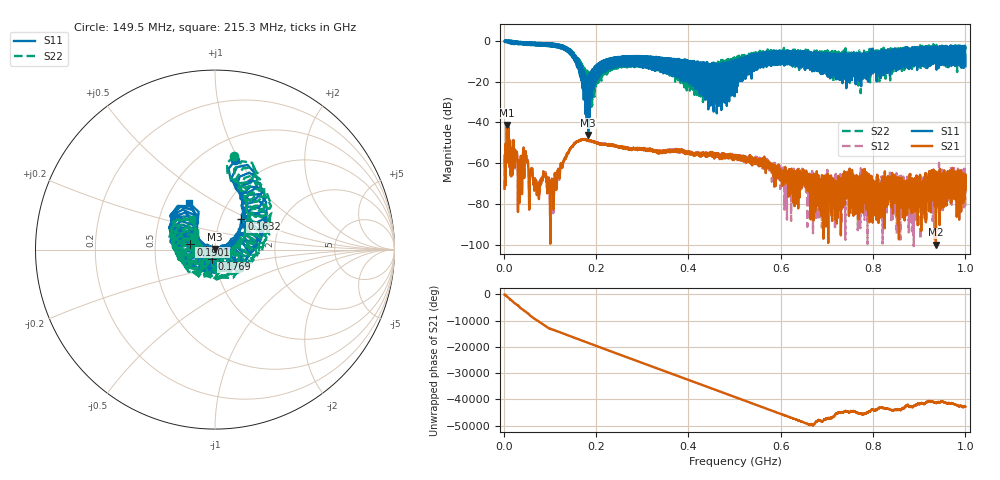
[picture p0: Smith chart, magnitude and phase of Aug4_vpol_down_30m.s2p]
!Keysight Technologies N9923A: A.12.45
!Date: Tuesday, 05 August 2025 20:54:13
!Timezone: (UTC+08:00) Kuala Lumpur, Singapore
!Model: N9923A
!Serial: MY61181427
!GPS Latitude:
!GPS Longitude:
!GPS TimeStamp: 0001-01-01 00:00:00Z
!GPS Seconds Since Last Read: 0
!CHECKSUM:1149632870
!Correction: S11(ON U)S21(ON U)S12(ON U)S22(ON U)
!S2P File: Measurements:S11,S21,S12,S22:
# Hz S DB R 50
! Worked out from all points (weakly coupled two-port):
!   4001 points, 2 MHz to 1 GHz, reference 50 ohm
!   highest |S21| = -41.26 dB at 6.74 MHz (marker M1); lowest = -100.0 dB at 936.1 MHz (marker M2)
!   lowest |S11| = -46.2 dB at 183.1 MHz (marker M3), VSWR 1.01, Z = 49.7 + j0.414 ohm
!   |S11| at or under -10 dB: 162.7 MHz to 213.8 MHz (51.06 MHz wide, 27.1 % of centre); 405.5 MHz to 410.4 MHz (4.948 MHz wide, 1.21 % of centre); 412.2 MHz to 494 MHz (81.78 MHz wide, 18 % of centre)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
!   |S22| runs from -35.2 to 0.1 dB; largest |S21 - S12| = 0.0011
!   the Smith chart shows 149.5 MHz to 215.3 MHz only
!   S11 on the Smith chart (normalised r, x): 149.5 MHz: 0.71, +0.96; 163.2 MHz: 1.26, +0.45; 176.9 MHz: 0.96, -0.10; 190.1 MHz: 0.76, +0.04; 215.3 MHz: 0.66, +0.38
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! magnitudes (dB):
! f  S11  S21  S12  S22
! 2 MHz  -0.1  -72.6  -72.4  -0.1
! 6.74 MHz  0.1  -41.3  -41.1  -0.1
! 35.43 MHz  -0.6  -64.4  -64.6  -0.9
! 46.41 MHz  -1.6  -54.5  -54.4  -1.8
! 72.61 MHz  -1.6  -71.0  -70.4  -1.5
! 88.08 MHz  -2.4  -65.7  -66.9  -2.5
! 104 MHz  -1.4  -69.2  -67.9  -1.5
! 149.5 MHz  -5.8  -51.5  -51.3  -5.4
! 163.2 MHz  -13.0  -49.1  -49.0  -11.0
! 168.4 MHz  -19.6  -48.6  -48.6  -16.1
! 176.9 MHz  -25.0  -48.6  -48.4  -25.4
! 183.1 MHz  -46.2  -48.6  -48.6  -22.3
! 190.1 MHz  -17.1  -49.4  -49.2  -23.6
! 215.3 MHz  -10.5  -50.5  -50.4  -13.5
! 334.8 MHz  -8.2  -54.1  -54.1  -10.0
! 445.1 MHz  -17.0  -55.5  -55.7  -22.9
! 501 MHz  -9.9  -56.3  -56.1  -9.0
! 667.4 MHz  -6.2  -74.5  -72.2  -6.4
! 833.8 MHz  -6.0  -72.5  -76.6  -13.6
! 936.1 MHz  -8.9  -100.0  -73.4  -5.7
! 976.8 MHz  -4.7  -72.8  -70.9  -9.9
! 1 GHz  -12.5  -71.7  -81.9  -4.0
